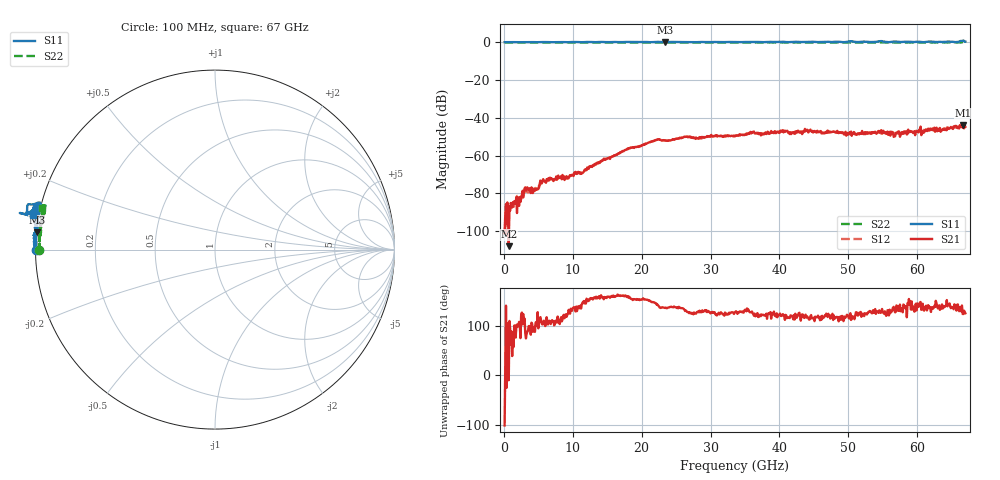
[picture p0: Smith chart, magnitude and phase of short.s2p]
!  2-Port S-parameters saved by WinCal
! VAR MeasName=S-Parameters (CALIBRATED_DATA) read from VNA (N5247A)
! VAR MeasDate=2020/12/15 16:21:48
! VAR NAME=PAD_SHORT
! VAR FILENAME=PAD_SHORT.S2P
! VAR DATE=2020/12/15 16:21:48
! VAR PHYS_PORTS=1,2
! VAR ObjTypeName=DATASET
! VAR IndexType=Frequency
# Hz S MA R 50
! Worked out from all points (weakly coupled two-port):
!   670 points, 100 MHz to 67 GHz, reference 50 ohm
!   highest |S21| = -43.82 dB at 66.7 GHz (marker M1); lowest = -107.8 dB at 700 MHz (marker M2)
!   lowest |S11| = -0.1 dB at 23.4 GHz (marker M3), VSWR 322.06, Z = 0.156 + j2.45 ohm
!   |S11| at or under -10 dB: nowhere
!   |S22| runs from -0.3 to -0.1 dB; largest |S21 - S12| = 0.0016
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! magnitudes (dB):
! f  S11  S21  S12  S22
! 100 MHz  0.0  -100.7  -101.7  -0.2
! 700 MHz  0.0  -107.8  -96.1  -0.2
! 2.3 GHz  0.0  -82.0  -83.0  -0.2
! 3.3 GHz  0.0  -77.4  -77.2  -0.2
! 4.5 GHz  0.0  -78.3  -78.6  -0.2
! 5.6 GHz  0.0  -73.5  -73.4  -0.2
! 9.1 GHz  0.0  -70.9  -71.8  -0.2
! 10.5 GHz  0.1  -69.7  -69.2  -0.2
! 11.3 GHz  0.0  -69.5  -69.4  -0.2
! 18.1 GHz  0.1  -56.1  -56.1  -0.2
! 22.4 GHz  0.1  -51.3  -51.4  -0.2
! 23.4 GHz  -0.1  -52.0  -52.0  -0.2
! 26.4 GHz  0.0  -50.1  -50.1  -0.2
! 33.6 GHz  0.0  -49.5  -49.4  -0.2
! 36 GHz  0.1  -47.6  -47.8  -0.1
! 37.5 GHz  0.0  -48.9  -48.3  -0.2
! 44.7 GHz  0.2  -47.4  -47.3  -0.2
! 50.9 GHz  0.1  -47.8  -49.1  -0.2
! 55.9 GHz  0.0  -48.5  -48.2  -0.2
! 60.9 GHz  0.0  -48.0  -46.4  -0.2
! 66.7 GHz  0.9  -43.8  -44.0  -0.3
! 67 GHz  0.3  -44.8  -45.2  -0.1
